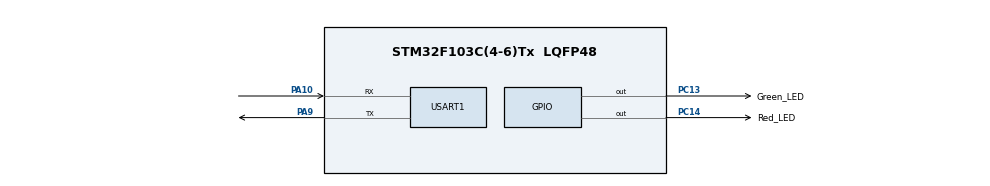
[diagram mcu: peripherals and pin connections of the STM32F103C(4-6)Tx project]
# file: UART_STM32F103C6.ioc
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Mcu.Family=STM32F1
Mcu.Name=STM32F103C(4-6)Tx
Mcu.Package=LQFP48
NVIC.PriorityGroup=NVIC_PRIORITYGROUP_4
PA10.Mode=Asynchronous
PA10.Signal=USART1_RX
PA13.Mode=Serial_Wire
PA13.Signal=SYS_JTMS-SWDIO
PA14.Mode=Serial_Wire
PA14.Signal=SYS_JTCK-SWCLK
PA9.Mode=Asynchronous
PA9.Signal=USART1_TX
PC13-TAMPER-RTC.GPIO_Label=Green_LED
PC13-TAMPER-RTC.Signal=GPIO_Output
PC14-OSC32_IN.GPIO_Label=Red_LED
PC14-OSC32_IN.Signal=GPIO_Output
PD0-OSC_IN.Mode=HSE-External-Oscillator
PD0-OSC_IN.Signal=RCC_OSC_IN
PD1-OSC_OUT.Mode=HSE-External-Oscillator
PD1-OSC_OUT.Signal=RCC_OSC_OUT
ProjectManager.HeapSize=0x200
ProjectManager.StackSize=0x400
ProjectManager.TargetToolchain=STM32CubeIDE
RCC.APB1Freq_Value=8000000
RCC.APB2Freq_Value=8000000
RCC.SYSCLKSource=RCC_SYSCLKSOURCE_HSE
USART1.VirtualMode=VM_ASYNC
board=custom

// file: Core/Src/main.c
/* USER CODE BEGIN Header */
/**
  ******************************************************************************
  * @file           : main.c
  * @brief          : Main program body
  ******************************************************************************
  * @attention
  *
  * Copyright (c) 2025 STMicroelectronics.
  * All rights reserved.
  *
  * This software is licensed under terms that can be found in the LICENSE file
  * in the root directory of this software component.
  * If no LICENSE file comes with this software, it is provided AS-IS.
  *
  ******************************************************************************
  */
#include "stdlib.h" //For using "sprintf"
#include "string.h" //For using "strlen"
/* USER CODE END Header */
#include "main.h"

UART_HandleTypeDef huart1;

/* USER CODE BEGIN PV */

void SendCharUART(uint8_t data)
{
	HAL_UART_Transmit(&huart1, &data, 1, 100);
}
//---------------------------------------------------
void SendStringUART(const char *str)
{
	HAL_UART_Transmit(&huart1, str, strlen(str), 100);
}
//===================================================
void SendCharUART_Reg(uint8_t symbol)
{
	USART1->CR1 &= ~USART_CR1_RE; //Turning off the receiver
	USART1->CR1 |= USART_CR1_TE; //Turning on the transmitter

	USART1->DR = symbol; //Sending the symbol
	while (!(USART1->SR & USART_SR_TC)); //Waiting for the transmission to finish

	USART1->CR1 &= ~USART_CR1_TE; //Turning off the transmitter
	USART1->CR1 |= USART_CR1_RE; //Turning on the receiver
}
//---------------------------------------------------
void SendStringUART_Reg(uint8_t string[])
{
	USART1->CR1 &= ~USART_CR1_RE; //Turning off the receiver
	USART1->CR1 |= USART_CR1_TE; //Turning on the transmitter

	for (unsigned int i = 0; i < strlen(string); ++i)
	{
		USART1->DR = string[i];
		while (!(USART1->SR & USART_SR_TC));
	}
	USART1->CR1 &= ~USART_CR1_TE; //Turning off the transmitter
	USART1->CR1 |= USART_CR1_RE; //Turning on the receiver
}
//===================================================
void GetCharUART_Reg()
{
	if (USART1->SR & USART_SR_RXNE) //This flag sets when the data is received and resets when the data is being read.
	{
		if (USART1->DR == 'A')
		{
			SendStringUART_Reg("Great");
			GPIOC->BRR |= GPIO_PIN_14; //Reset pin 14
			GPIOC->BSRR |= GPIO_PIN_13; //Set pin 13
		}
		else
		{
			SendStringUART_Reg("Not Great");
			GPIOC->BRR |= GPIO_PIN_14; //Reset pin 14
			GPIOC->BRR |= GPIO_PIN_13; //Set pin 13
		}
	}
	else
	{
		GPIOC->BSRR |= GPIO_PIN_14; //Set pin 14
		GPIOC->BRR |= GPIO_PIN_13; //Reset pin 13
	}
}
//---------------------------------------------------
/* USER CODE END PV */

void SystemClock_Config(void);
static void MX_GPIO_Init(void);
static void MX_USART1_UART_Init(void);

int main(void)
{

  /* MCU Configuration--------------------------------------------------------*/

  /* Reset of all peripherals, Initializes the Flash interface and the Systick. */
  HAL_Init();

  /* Configure the system clock */
  SystemClock_Config();

  /* Initialize all configured peripherals */
  MX_GPIO_Init();
  MX_USART1_UART_Init();
  /* USER CODE BEGIN 2 */

  char Number = 0;
  char String[10];
  float ADC = 0.0;

  /* USER CODE END 2 */

  /* Infinite loop */
  /* USER CODE BEGIN WHILE */

  //USART has to be enabled in Cube MX in advance!
  USART1->BRR = (4<<4) | 5; //Set Baud rate 115200
  //USART1->CR1 = (USART_CR1_UE | USART_CR1_TE); //UART Enable and Transmit Enable
  USART1->CR1 = (USART_CR1_UE | USART_CR1_RE); //UART Enable and Receiver Enable

  while (1)
  {
	  Number++;
	  ADC += 0.1;
	  //UART with Registers
	  USART1->DR = Number; //Sending data to the data register
	  while (!(USART1->SR & USART_SR_TC)); //Waiting for a transmission to complete
/*
	  SendCharUART_Reg('A');
	  SendStringUART_Reg("Hello world!");

	  SendCharUART(0x0D);
	  snprintf(String, sizeof(String), "%f", ADC);
	  */
	  //UART with HAL_library
	/*
    sprintf(String, "%d", Number); //Conversion a number into a string
    SendStringUART(String); //Sending the string via UART
    //snprintf(String, sizeof(String), "%f", ADC); //Conversion a float value into a string. (DISABLED)
    //------------------------------------------------------------
    SendStringUART("Letter - "); //Sending a string
    SendCharUART('A'); //Sending symbol 'A'
    SendCharUART(0x0D); //Next string
    HAL_Delay(200);
    */
    /* USER CODE END WHILE */

  }
}

void SystemClock_Config(void)
{
  RCC_OscInitTypeDef RCC_OscInitStruct = {0};
  RCC_ClkInitTypeDef RCC_ClkInitStruct = {0};

  /** Initializes the RCC Oscillators according to the specified parameters
  * in the RCC_OscInitTypeDef structure.
  */
  RCC_OscInitStruct.OscillatorType = RCC_OSCILLATORTYPE_HSE;
  RCC_OscInitStruct.HSEState = RCC_HSE_ON;
  RCC_OscInitStruct.PLL.PLLState = RCC_PLL_NONE;
  if (HAL_RCC_OscConfig(&RCC_OscInitStruct) != HAL_OK)
  {
    Error_Handler();
  }

  /** Initializes the CPU, AHB and APB buses clocks
  */
  RCC_ClkInitStruct.ClockType = RCC_CLOCKTYPE_HCLK|RCC_CLOCKTYPE_SYSCLK
                              |RCC_CLOCKTYPE_PCLK1|RCC_CLOCKTYPE_PCLK2;
  RCC_ClkInitStruct.SYSCLKSource = RCC_SYSCLKSOURCE_HSE;
  RCC_ClkInitStruct.AHBCLKDivider = RCC_SYSCLK_DIV1;
  RCC_ClkInitStruct.APB1CLKDivider = RCC_HCLK_DIV1;
  RCC_ClkInitStruct.APB2CLKDivider = RCC_HCLK_DIV1;

  if (HAL_RCC_ClockConfig(&RCC_ClkInitStruct, FLASH_LATENCY_0) != HAL_OK)
  {
    Error_Handler();
  }
}

static void MX_USART1_UART_Init(void)
{

  huart1.Instance = USART1;
  huart1.Init.BaudRate = 115200;
  huart1.Init.WordLength = UART_WORDLENGTH_8B;
  huart1.Init.StopBits = UART_STOPBITS_1;
  huart1.Init.Parity = UART_PARITY_NONE;
  huart1.Init.Mode = UART_MODE_TX_RX;
  huart1.Init.HwFlowCtl = UART_HWCONTROL_NONE;
  huart1.Init.OverSampling = UART_OVERSAMPLING_16;
  if (HAL_UART_Init(&huart1) != HAL_OK)
  {
    Error_Handler();
  }

}

static void MX_GPIO_Init(void)
{
  GPIO_InitTypeDef GPIO_InitStruct = {0};

  /* GPIO Ports Clock Enable */
  __HAL_RCC_GPIOC_CLK_ENABLE();
  __HAL_RCC_GPIOD_CLK_ENABLE();
  __HAL_RCC_GPIOA_CLK_ENABLE();

  /*Configure GPIO pin Output Level */
  HAL_GPIO_WritePin(GPIOC, Green_LED_Pin|Red_LED_Pin, GPIO_PIN_RESET);

  /*Configure GPIO pins : Green_LED_Pin Red_LED_Pin */
  GPIO_InitStruct.Pin = Green_LED_Pin|Red_LED_Pin;
  GPIO_InitStruct.Mode = GPIO_MODE_OUTPUT_PP;
  GPIO_InitStruct.Pull = GPIO_NOPULL;
  GPIO_InitStruct.Speed = GPIO_SPEED_FREQ_LOW;
  HAL_GPIO_Init(GPIOC, &GPIO_InitStruct);

}

void Error_Handler(void)
{
  __disable_irq();
  while (1)
  {
  }
}
